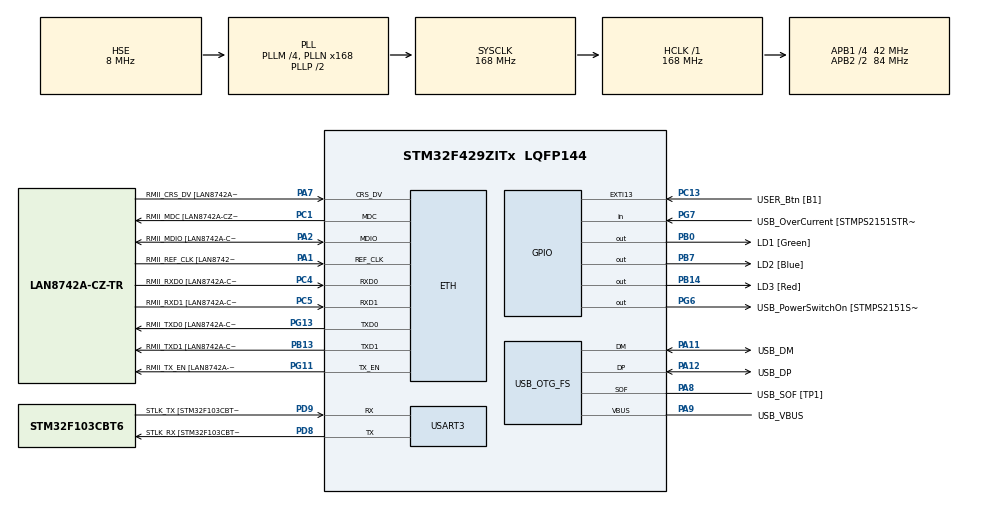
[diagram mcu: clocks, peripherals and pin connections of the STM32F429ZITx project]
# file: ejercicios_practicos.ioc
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ETH.MediaInterface=HAL_ETH_RMII_MODE
ETH.PHY_Name=LAN8742A_PHY_ADDRESS
ETH.PHY_Value=0
ETH.PhyAddress=0
Mcu.Family=STM32F4
Mcu.Name=STM32F429ZITx
Mcu.Package=LQFP144
NVIC.PriorityGroup=NVIC_PRIORITYGROUP_4
PA1.GPIO_Label=RMII_REF_CLK [LAN8742A-CZ-TR_REFCLK0]
PA1.Mode=RMII
PA1.Signal=ETH_REF_CLK
PA10.GPIO_Label=USB_ID
PA10.Signal=USB_OTG_FS_ID
PA11.GPIO_Label=USB_DM
PA11.Mode=Device_Only
PA11.Signal=USB_OTG_FS_DM
PA12.GPIO_Label=USB_DP
PA12.Mode=Device_Only
PA12.Signal=USB_OTG_FS_DP
PA13.GPIO_Label=TMS
PA13.Mode=Serial_Wire
PA13.Signal=SYS_JTMS-SWDIO
PA14.GPIO_Label=TCK
PA14.Mode=Serial_Wire
PA14.Signal=SYS_JTCK-SWCLK
PA2.GPIO_Label=RMII_MDIO [LAN8742A-CZ-TR_MDIO]
PA2.Mode=RMII
PA2.Signal=ETH_MDIO
PA7.GPIO_Label=RMII_CRS_DV [LAN8742A-CZ-TR_CRS_DV]
PA7.Mode=RMII
PA7.Signal=ETH_CRS_DV
PA8.GPIO_Label=USB_SOF [TP1]
PA8.Mode=Activate_SOF_FS
PA8.Signal=USB_OTG_FS_SOF
PA9.GPIO_Label=USB_VBUS
PA9.Mode=Activate_VBUS
PA9.Signal=USB_OTG_FS_VBUS
PB0.GPIO_Label=LD1 [Green]
PB0.Signal=GPIO_Output
PB13.GPIO_Label=RMII_TXD1 [LAN8742A-CZ-TR_TXD1]
PB13.Mode=RMII
PB13.Signal=ETH_TXD1
PB14.GPIO_Label=LD3 [Red]
PB14.Signal=GPIO_Output
PB7.GPIO_Label=LD2 [Blue]
PB7.Signal=GPIO_Output
PC1.GPIO_Label=RMII_MDC [LAN8742A-CZ-TR_MDC]
PC1.Mode=RMII
PC1.Signal=ETH_MDC
PC13.GPIO_Label=USER_Btn [B1]
PC13.Signal=GPXTI13
PC14/OSC32_IN.Mode=LSE-External-Oscillator
PC14/OSC32_IN.Signal=RCC_OSC32_IN
PC15/OSC32_OUT.Mode=LSE-External-Oscillator
PC15/OSC32_OUT.Signal=RCC_OSC32_OUT
PC4.GPIO_Label=RMII_RXD0 [LAN8742A-CZ-TR_RXD0]
PC4.Mode=RMII
PC4.Signal=ETH_RXD0
PC5.GPIO_Label=RMII_RXD1 [LAN8742A-CZ-TR_RXD1]
PC5.Mode=RMII
PC5.Signal=ETH_RXD1
PD8.GPIO_Label=STLK_RX [STM32F103CBT6_PA3]
PD8.Mode=Asynchronous
PD8.Signal=USART3_TX
PD9.GPIO_Label=STLK_TX [STM32F103CBT6_PA2]
PD9.Mode=Asynchronous
PD9.Signal=USART3_RX
PG11.GPIO_Label=RMII_TX_EN [LAN8742A-CZ-TR_TXEN]
PG11.Mode=RMII
PG11.Signal=ETH_TX_EN
PG13.GPIO_Label=RMII_TXD0 [LAN8742A-CZ-TR_TXD0]
PG13.Mode=RMII
PG13.Signal=ETH_TXD0
PG6.GPIO_Label=USB_PowerSwitchOn [STMPS2151STR_EN]
PG6.Signal=GPIO_Output
PG7.GPIO_Label=USB_OverCurrent [STMPS2151STR_FAULT]
PG7.Signal=GPIO_Input
PH0/OSC_IN.GPIO_Label=MCO [STM32F103CBT6_PA8]
PH0/OSC_IN.Mode=HSE-External-Clock-Source
PH0/OSC_IN.Signal=RCC_OSC_IN
PH1/OSC_OUT.Mode=HSE-External-Clock-Source
PH1/OSC_OUT.Signal=RCC_OSC_OUT
ProjectManager.HeapSize=0x200
ProjectManager.StackSize=0x400
ProjectManager.TargetToolchain=STM32CubeIDE
RCC.48MHZClocksFreq_Value=48000000
RCC.AHBFreq_Value=168000000
RCC.APB1CLKDivider=RCC_HCLK_DIV4
RCC.APB1Freq_Value=42000000
RCC.APB1TimFreq_Value=84000000
RCC.APB2CLKDivider=RCC_HCLK_DIV2
RCC.APB2Freq_Value=84000000
RCC.APB2TimCLKDivider=2
RCC.APB2TimFreq_Value=168000000
RCC.CortexFreq_Value=168000000
RCC.HCLKFreq_Value=168000000
RCC.HSE_VALUE=8000000
RCC.HSI_VALUE=16000000
RCC.PLLM=4
RCC.PLLMUL=RCC_PLL_MUL9
RCC.PLLN=168
RCC.PLLQ=7
RCC.PRESCALERUSB=RCC_USBCLKSOURCE_PLL_DIV1_5
RCC.SYSCLKFreq_VALUE=168000000
RCC.SYSCLKSource=RCC_SYSCLKSOURCE_PLLCLK
RCC.SYSCLKSourceVirtual=RCC_SYSCLKSOURCE_PLLCLK
RCC.USBFreq_Value=48000000
RCC.VCOOutputFreq_Value=336000000
USART3.VirtualMode=VM_ASYNC
USB_OTG_FS.VirtualMode=Device_Only
board=NUCLEO-F429ZI

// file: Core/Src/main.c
/* USER CODE BEGIN Header */
/**
  ******************************************************************************
  * @file           : main.c
  * @brief          : Main program body
  ******************************************************************************
  * @attention
  *
  * Copyright (c) 2022 STMicroelectronics.
  * All rights reserved.
  *
  * This software is licensed under terms that can be found in the LICENSE file
  * in the root directory of this software component.
  * If no LICENSE file comes with this software, it is provided AS-IS.
  *
  ******************************************************************************
  */
/* USER CODE END Header */
#include "main.h"
#include "string.h"

/* USER CODE BEGIN Includes */
#include "asm_func.h"
#include "examples.h"
/* USER CODE END Includes */

ETH_TxPacketConfig TxConfig;
ETH_DMADescTypeDef  DMARxDscrTab[ETH_RX_DESC_CNT]; /* Ethernet Rx DMA Descriptors */
ETH_DMADescTypeDef  DMATxDscrTab[ETH_TX_DESC_CNT]; /* Ethernet Tx DMA Descriptors */

 ETH_HandleTypeDef heth;

UART_HandleTypeDef huart3;

PCD_HandleTypeDef hpcd_USB_OTG_FS;

void SystemClock_Config(void);
static void MX_GPIO_Init(void);
static void MX_ETH_Init(void);
static void MX_USART3_UART_Init(void);
static void MX_USB_OTG_FS_PCD_Init(void);

/* USER CODE BEGIN 0 */
static void PrivilegiosSVC (void)
{
    // Obtiene valor del registro de 32 bits del procesador llamado "control".
    // El registro guarda los siguientes estados:
    // bit 2: Uso de FPU en el contexto actual. Usado=1, no usado=0.
    // bit 1: Mapeo del stack pointer(sp). MSP=0, PSP=1.
    // bit 0: Modo de ejecucion en Thread. Privilegiado=0, No privilegiado=1.
    //        Recordar que este valor solo se usa en modo Thread. Las
    //        interrupciones siempre se ejecutan en modo Handler con total
    //        privilegio.
    uint32_t x = __get_CONTROL ();

    // Actividad de debug: Ver registro "control" y valor de variable "x".
    //__BKPT (0);

    x |= 1;
    // bit 0 a modo No privilegiado.
    __set_CONTROL (x);

    // En este punto se estaria ejecutando en modo No privilegiado.
    // Lectura del registro "control" para confirmar.
    x = __get_CONTROL ();

    // Actividad de debug: Ver registro "control" y valor de variable "x".
    //__BKPT (0);

    x &= ~1u;
    // Se intenta volver a modo Privilegiado (bit 0, valor 0).
    __set_CONTROL (x);

    // Confirma que esta operacion es ignorada por estar ejecutandose en modo
    // Thread no privilegiado.
    x = __get_CONTROL ();

    // Actividad de debug: Ver registro "control" y valor de variable "x".
    //__BKPT (0);

    // En este punto, ejecutando en modo Thread no privilegiado, la unica forma
    // de volver a modo privilegiado o de realizar cualquier cambio que requiera
    // modo privilegiado, es pidiendo ese servicio a un hipotetico sistema
    // opertivo de tiempo real.
    // Para esto se invoca por software a la interrupcion SVC (Supervisor Call)
    // utilizando la instruccion "svc".
    // No hay intrinsics para realizar esta tarea. Para utilizar la instruccion
    // es necesario implementar una funcion en assembler. Ver el archivo
    // asm_func.S.
    asm_svc ();

    // El sistema operativo (el handler de SVC) deberia haber devuelto el modo
    // de ejecucion de Thread a privilegiado (bit 0 en valor 0).
    x = __get_CONTROL ();

    // Fin del ejemplo de SVC
}
/* USER CODE END 0 */

int main(void)
{

  /* MCU Configuration--------------------------------------------------------*/

  /* Reset of all peripherals, Initializes the Flash interface and the Systick. */
  HAL_Init();

  /* Configure the system clock */
  SystemClock_Config();

  /* Initialize all configured peripherals */
  MX_GPIO_Init();
  MX_ETH_Init();
  MX_USART3_UART_Init();
  MX_USB_OTG_FS_PCD_Init();
  /* USER CODE BEGIN 2 */

  // 0xe0001000
  DWT->CTRL |= 1 << DWT_CTRL_CYCCNTENA_Pos;
  //DWT->CYCCNT = 0;
  // 00010002
  // 01000200

  PrivilegiosSVC ();

  uint32_t vin_32u[11] = { 1, 2, 3, 4, 5, 6, 7, 8, 9, 10, 4000};
  uint32_t vout_32u[11];

  int32_t vin_32s[11] = { 1, 2, 3, -4000, 5, 1200000, 7, 8, 9, 10, 4000};
  int32_t vout_32s[11];

  uint16_t vin_16u[11] = { 1, 2, 3, 4, 5, 6, 7, 8, 900, 10, 11};
  uint16_t vout_16u[11];

  int16_t vout_16s[11];

  filtroVentana10(vin_16u, vout_16u, 11);
  asm_filtroVentana10(vin_16u, vout_16u, 11);

  pack32to16(vin_32s, vout_16s, 11);
  asm_pack32to16(vin_32s, vout_16s, 11);

  int32_t index = max(vin_32s, 11);
  index = asm_max(vin_32s, 11);

  //downsampleM(vin_32s, vout_32s, 11, 4);
  asm_downsampleM(vin_32s, vout_32s, 11, 4);

  invertir(vin_16u, 11);
  asm_invertir(vin_16u, 11);
  //asm_productoEscalar32 (vin_32u, vout_32u, 11, 2);
  //zeros (vin, 4);
  //DWT->CYCCNT = 0;
  //asm_productoEscalar16 (vin, vout, 4, 2);
  //volatile uint32_t c = DWT->CYCCNT;
  //asm_productoEscalar12 (vin, vout, 4, 2);

  //c = DWT->CYCCNT;
  //const uint32_t Resultado = asm_sum (5, 3);
  /* USER CODE END 2 */

  /* Infinite loop */
  while (1)
  {

  }
}

void SystemClock_Config(void)
{
  RCC_OscInitTypeDef RCC_OscInitStruct = {0};
  RCC_ClkInitTypeDef RCC_ClkInitStruct = {0};

  /** Configure the main internal regulator output voltage
  */
  __HAL_RCC_PWR_CLK_ENABLE();
  __HAL_PWR_VOLTAGESCALING_CONFIG(PWR_REGULATOR_VOLTAGE_SCALE1);

  /** Initializes the RCC Oscillators according to the specified parameters
  * in the RCC_OscInitTypeDef structure.
  */
  RCC_OscInitStruct.OscillatorType = RCC_OSCILLATORTYPE_HSE;
  RCC_OscInitStruct.HSEState = RCC_HSE_BYPASS;
  RCC_OscInitStruct.PLL.PLLState = RCC_PLL_ON;
  RCC_OscInitStruct.PLL.PLLSource = RCC_PLLSOURCE_HSE;
  RCC_OscInitStruct.PLL.PLLM = 4;
  RCC_OscInitStruct.PLL.PLLN = 168;
  RCC_OscInitStruct.PLL.PLLP = RCC_PLLP_DIV2;
  RCC_OscInitStruct.PLL.PLLQ = 7;
  if (HAL_RCC_OscConfig(&RCC_OscInitStruct) != HAL_OK)
  {
    Error_Handler();
  }

  /** Initializes the CPU, AHB and APB buses clocks
  */
  RCC_ClkInitStruct.ClockType = RCC_CLOCKTYPE_HCLK|RCC_CLOCKTYPE_SYSCLK
                              |RCC_CLOCKTYPE_PCLK1|RCC_CLOCKTYPE_PCLK2;
  RCC_ClkInitStruct.SYSCLKSource = RCC_SYSCLKSOURCE_PLLCLK;
  RCC_ClkInitStruct.AHBCLKDivider = RCC_SYSCLK_DIV1;
  RCC_ClkInitStruct.APB1CLKDivider = RCC_HCLK_DIV4;
  RCC_ClkInitStruct.APB2CLKDivider = RCC_HCLK_DIV2;

  if (HAL_RCC_ClockConfig(&RCC_ClkInitStruct, FLASH_LATENCY_5) != HAL_OK)
  {
    Error_Handler();
  }
}

static void MX_ETH_Init(void)
{

   static uint8_t MACAddr[6];

  heth.Instance = ETH;
  MACAddr[0] = 0x00;
  MACAddr[1] = 0x80;
  MACAddr[2] = 0xE1;
  MACAddr[3] = 0x00;
  MACAddr[4] = 0x00;
  MACAddr[5] = 0x00;
  heth.Init.MACAddr = &MACAddr[0];
  heth.Init.MediaInterface = HAL_ETH_RMII_MODE;
  heth.Init.TxDesc = DMATxDscrTab;
  heth.Init.RxDesc = DMARxDscrTab;
  heth.Init.RxBuffLen = 1524;

  if (HAL_ETH_Init(&heth) != HAL_OK)
  {
    Error_Handler();
  }

  memset(&TxConfig, 0 , sizeof(ETH_TxPacketConfig));
  TxConfig.Attributes = ETH_TX_PACKETS_FEATURES_CSUM | ETH_TX_PACKETS_FEATURES_CRCPAD;
  TxConfig.ChecksumCtrl = ETH_CHECKSUM_IPHDR_PAYLOAD_INSERT_PHDR_CALC;
  TxConfig.CRCPadCtrl = ETH_CRC_PAD_INSERT;

}

static void MX_USART3_UART_Init(void)
{

  huart3.Instance = USART3;
  huart3.Init.BaudRate = 115200;
  huart3.Init.WordLength = UART_WORDLENGTH_8B;
  huart3.Init.StopBits = UART_STOPBITS_1;
  huart3.Init.Parity = UART_PARITY_NONE;
  huart3.Init.Mode = UART_MODE_TX_RX;
  huart3.Init.HwFlowCtl = UART_HWCONTROL_NONE;
  huart3.Init.OverSampling = UART_OVERSAMPLING_16;
  if (HAL_UART_Init(&huart3) != HAL_OK)
  {
    Error_Handler();
  }

}

static void MX_USB_OTG_FS_PCD_Init(void)
{

  hpcd_USB_OTG_FS.Instance = USB_OTG_FS;
  hpcd_USB_OTG_FS.Init.dev_endpoints = 4;
  hpcd_USB_OTG_FS.Init.speed = PCD_SPEED_FULL;
  hpcd_USB_OTG_FS.Init.dma_enable = DISABLE;
  hpcd_USB_OTG_FS.Init.phy_itface = PCD_PHY_EMBEDDED;
  hpcd_USB_OTG_FS.Init.Sof_enable = ENABLE;
  hpcd_USB_OTG_FS.Init.low_power_enable = DISABLE;
  hpcd_USB_OTG_FS.Init.lpm_enable = DISABLE;
  hpcd_USB_OTG_FS.Init.vbus_sensing_enable = ENABLE;
  hpcd_USB_OTG_FS.Init.use_dedicated_ep1 = DISABLE;
  if (HAL_PCD_Init(&hpcd_USB_OTG_FS) != HAL_OK)
  {
    Error_Handler();
  }

}

static void MX_GPIO_Init(void)
{
  GPIO_InitTypeDef GPIO_InitStruct = {0};

  /* GPIO Ports Clock Enable */
  __HAL_RCC_GPIOC_CLK_ENABLE();
  __HAL_RCC_GPIOH_CLK_ENABLE();
  __HAL_RCC_GPIOA_CLK_ENABLE();
  __HAL_RCC_GPIOB_CLK_ENABLE();
  __HAL_RCC_GPIOD_CLK_ENABLE();
  __HAL_RCC_GPIOG_CLK_ENABLE();

  /*Configure GPIO pin Output Level */
  HAL_GPIO_WritePin(GPIOB, LD1_Pin|LD3_Pin|LD2_Pin, GPIO_PIN_RESET);

  /*Configure GPIO pin Output Level */
  HAL_GPIO_WritePin(USB_PowerSwitchOn_GPIO_Port, USB_PowerSwitchOn_Pin, GPIO_PIN_RESET);

  /*Configure GPIO pin : USER_Btn_Pin */
  GPIO_InitStruct.Pin = USER_Btn_Pin;
  GPIO_InitStruct.Mode = GPIO_MODE_IT_RISING;
  GPIO_InitStruct.Pull = GPIO_NOPULL;
  HAL_GPIO_Init(USER_Btn_GPIO_Port, &GPIO_InitStruct);

  /*Configure GPIO pins : LD1_Pin LD3_Pin LD2_Pin */
  GPIO_InitStruct.Pin = LD1_Pin|LD3_Pin|LD2_Pin;
  GPIO_InitStruct.Mode = GPIO_MODE_OUTPUT_PP;
  GPIO_InitStruct.Pull = GPIO_NOPULL;
  GPIO_InitStruct.Speed = GPIO_SPEED_FREQ_LOW;
  HAL_GPIO_Init(GPIOB, &GPIO_InitStruct);

  /*Configure GPIO pin : USB_PowerSwitchOn_Pin */
  GPIO_InitStruct.Pin = USB_PowerSwitchOn_Pin;
  GPIO_InitStruct.Mode = GPIO_MODE_OUTPUT_PP;
  GPIO_InitStruct.Pull = GPIO_NOPULL;
  GPIO_InitStruct.Speed = GPIO_SPEED_FREQ_LOW;
  HAL_GPIO_Init(USB_PowerSwitchOn_GPIO_Port, &GPIO_InitStruct);

  /*Configure GPIO pin : USB_OverCurrent_Pin */
  GPIO_InitStruct.Pin = USB_OverCurrent_Pin;
  GPIO_InitStruct.Mode = GPIO_MODE_INPUT;
  GPIO_InitStruct.Pull = GPIO_NOPULL;
  HAL_GPIO_Init(USB_OverCurrent_GPIO_Port, &GPIO_InitStruct);

}

void Error_Handler(void)
{
  __disable_irq();
  while (1)
  {
  }
}
